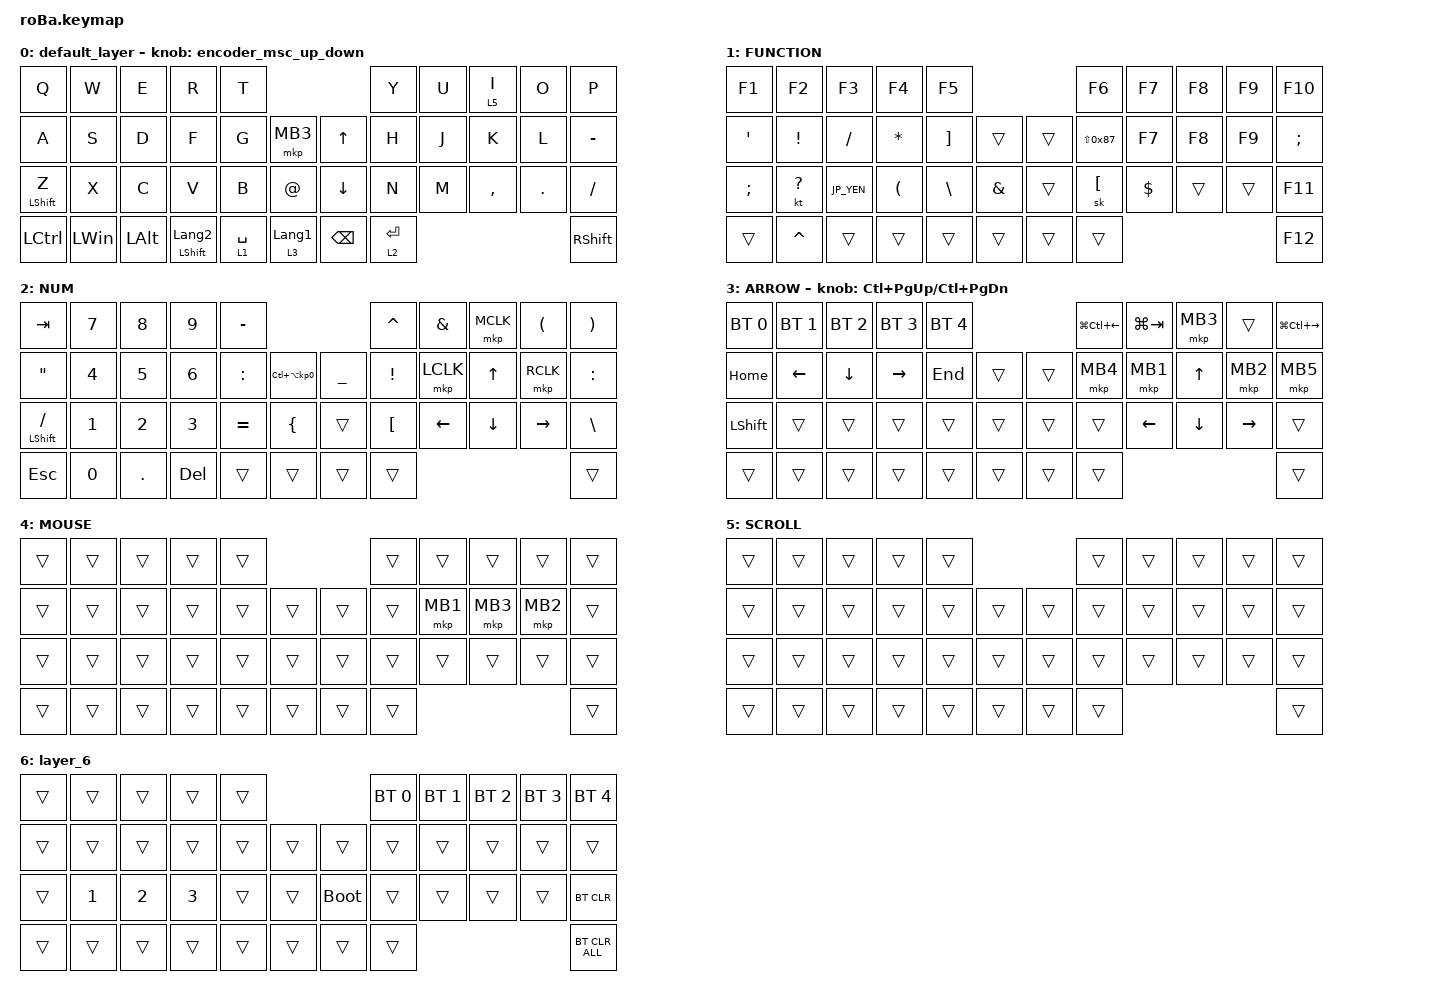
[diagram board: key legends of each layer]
#include <dt-bindings/zmk/mouse.h>
#include <behaviors.dtsi>
#include <dt-bindings/zmk/bt.h>
#include <dt-bindings/zmk/keys.h>
#include <dt-bindings/zmk/pointing.h>

#define MOUSE 4
#define SCROLL 5
#define NUM 6

#undef ZMK_POINTING_DEFAULT_SCRL_VAL
#define ZMK_POINTING_DEFAULT_SCRL_VAL 80

// OS設定を日本語キーボードのまま使用するための変換定義

#define JP_DQUOTE       AT                // "
#define JP_AMPERSAND    CARET             // &
#define JP_QUOTE        AMPERSAND         // '
#define JP_EQUAL        UNDER             // =
#define JP_CARET        EQUAL             // ^
#define JP_YEN          0x89              // ¥
#define JP_PLUS         COLON             // +
#define JP_TILDE        PLUS              // ~
#define JP_PIPE         LS(0x89)          // |
#define JP_AT           LEFT_BRACKET      // @
#define JP_COLON        SINGLE_QUOTE      // :
#define JP_ASTERISK     DOUBLE_QUOTES     // *
#define JP_BACKQUOTE    LEFT_BRACE        // `
#define JP_UNDERSCORE   LS(0x87)          // _
#define JP_LBRACKET     RIGHT_BRACKET     // [
#define JP_RBRACKET     BACKSLASH         // ]
#define JP_LPAREN       ASTERISK          // (
#define JP_RPAREN       LEFT_PARENTHESIS  // )
#define JP_LBRACE       RIGHT_BRACE       // {
#define JP_RBRACE       PIPE              // }
#define JP_KANA         LANGUAGE_1        // かな
#define JP_EISU         LANGUAGE_2        // 英数
#define JP_HANZEN       GRAVE             // 半角/全角

&mt {
    flavor = "balanced";
    quick-tap-ms = <0>;
};

/ {
    combos {
        compatible = "zmk,combos";

        tab {
            bindings = <&kp TAB>;
            key-positions = <11 10>;
        };

        shift_tab {
            bindings = <&kp LS(TAB)>;
            key-positions = <12 11>;
        };

        muhennkann {
            bindings = <&kp ESC>;
            key-positions = <0 1>;
        };

        double_quotation {
            bindings = <&kp DOUBLE_QUOTES>;
            key-positions = <20 21>;
        };
    };

    macros {
        to_layer_0: to_layer_0 {
            compatible = "zmk,behavior-macro-one-param";
            #binding-cells = <1>;
            bindings = <&to 0 &macro_param_1to1 &kp MACRO_PLACEHOLDER>;
            label = "TO_LAYER_0";
        };
    };

    behaviors {
        lt_to_layer_0: lt_to_layer_0 {
            compatible = "zmk,behavior-hold-tap";
            label = "LAYER_TAP_TO_0";
            bindings = <&mo>, <&to_layer_0>;

            #binding-cells = <2>;
            tapping-term-ms = <200>;
        };

        encoder_msc_down_up: encoder_msc_down_up {
            compatible = "zmk,behavior-sensor-rotate";
            label = "ENCODER_MSC_DOWN_UP";
            #sensor-binding-cells = <0>;
            bindings = <&msc SCRL_DOWN>, <&msc SCRL_UP>;
            tap-ms = <20>;
        };

        encoder_msc_up_down: encoder_msc_up_down {
            compatible = "zmk,behavior-sensor-rotate";
            label = "ENCODER_MSC_DOWN_UP";
            #sensor-binding-cells = <0>;
            bindings = <&msc SCRL_UP>, <&msc SCRL_DOWN>;
            tap-ms = <20>;
        };

    };

    keymap {
        compatible = "zmk,keymap";

        default_layer {
            bindings = <
&kp Q             &kp W         &kp E         &kp R                      &kp T                                             &kp Y        &kp U  &lt 5 I    &kp O    &kp P
&kp A             &kp S         &kp D         &kp F                      &kp G        &mkp MB3              &kp UP_ARROW   &kp H        &kp J  &kp K      &kp L    &kp MINUS
&mt LEFT_SHIFT Z  &kp X         &kp C         &kp V                      &kp B        &kp JP_DQUOTE         &kp DOWN       &kp N        &kp M  &kp COMMA  &kp DOT  &kp SLASH
&kp LCTRL         &kp LEFT_WIN  &kp LEFT_ALT  &mt LEFT_SHIFT LANGUAGE_2  &lt 1 SPACE  &lt 3 LANGUAGE_1      &kp BACKSPACE  &lt 2 ENTER                             &kp RIGHT_SHIFT
            >;

            sensor-bindings = <&encoder_msc_up_down>;
        };

        FUNCTION {
            bindings = <
&kp F1         &kp F2           &kp F3      &kp F4         &kp F5                                     &kp F6             &kp F7      &kp F8  &kp F9  &kp F10
&kp JP_COLON   &kp EXCLAMATION  &kp SLASH   &kp JP_LPAREN  &kp JP_LBRACKET  &trans            &trans  &kp JP_UNDERSCORE  &kp F7      &kp F8  &kp F9  &kp SEMICOLON
&kp SEMICOLON  &kt QUESTION     &kp JP_YEN  &kp JP_RPAREN  &kp JP_RBRACKET  &kp JP_QUOTE      &trans  &sk JP_AT          &kp DOLLAR  &trans  &trans  &kp F11
&trans         &kp CARET        &trans      &trans         &trans           &trans            &trans  &trans                                         &kp F12
            >;
        };

        NUM {
            bindings = <
&kp TAB               &kp N7        &kp N8        &kp N9        &kp MINUS                                                 &kp CARET         &kp AMPERSAND  &mkp MCLK     &kp LEFT_PARENTHESIS  &kp RIGHT_PARENTHESIS
&kp JP_ASTERISK       &kp NUMBER_4  &kp N5        &kp NUMBER_6  &kp JP_PLUS  &kp LC(LA(KP_NUMBER_0))      &kp UNDERSCORE  &kp EXCLAMATION   &mkp LCLK      &kp UP_ARROW  &mkp RCLK             &kp COLON
&mt LEFT_SHIFT SLASH  &kp NUMBER_1  &kp NUMBER_2  &kp NUMBER_3  &kp EQUAL    &kp JP_BACKQUOTE             &trans          &kp LEFT_BRACKET  &kp LEFT       &kp DOWN      &kp RIGHT_ARROW       &kp BACKSLASH
&kp ESC               &kp NUMBER_0  &kp DOT       &kp DEL       &trans       &trans                       &trans          &trans                                                               &trans
            >;
        };

        ARROW {
            bindings = <
&bt BT_SEL 0    &bt BT_SEL 1    &bt BT_SEL 2    &bt BT_SEL 3     &bt BT_SEL 4                      &kp LG(LC(LEFT))  &kp LG(TAB)  &mkp MB3  &trans     &kp LG(LC(RIGHT))
&kp HOME        &kp LEFT_ARROW  &kp DOWN_ARROW  &kp RIGHT_ARROW  &kp END       &trans      &trans  &mkp MB4          &mkp MB1     &kp UP    &mkp MB2   &mkp MB5
&kp LEFT_SHIFT  &trans          &trans          &trans           &trans        &trans      &trans  &trans            &kp LEFT     &kp DOWN  &kp RIGHT  &trans
&trans          &trans          &trans          &trans           &trans        &trans      &trans  &trans                                              &trans
            >;

            sensor-bindings = <&inc_dec_kp LC(PAGE_UP) LC(PAGE_DOWN)>;
        };

        MOUSE {
            bindings = <
&trans  &trans  &trans  &trans  &trans                      &trans  &trans    &trans    &trans    &trans
&trans  &trans  &trans  &trans  &trans  &trans      &trans  &trans  &mkp MB1  &mkp MB3  &mkp MB2  &trans
&trans  &trans  &trans  &trans  &trans  &trans      &trans  &trans  &trans    &trans    &trans    &trans
&trans  &trans  &trans  &trans  &trans  &trans      &trans  &trans                                &trans
            >;
        };

        SCROLL {
            bindings = <
&trans  &trans  &trans  &trans  &trans                      &trans  &trans  &trans  &trans  &trans
&trans  &trans  &trans  &trans  &trans  &trans      &trans  &trans  &trans  &trans  &trans  &trans
&trans  &trans  &trans  &trans  &trans  &trans      &trans  &trans  &trans  &trans  &trans  &trans
&trans  &trans  &trans  &trans  &trans  &trans      &trans  &trans                          &trans
            >;
        };

        layer_6 {
            bindings = <
&trans  &trans        &trans        &trans        &trans                           &bt BT_SEL 0  &bt BT_SEL 1  &bt BT_SEL 2  &bt BT_SEL 3  &bt BT_SEL 4
&trans  &trans        &trans        &trans        &trans  &trans      &trans       &trans        &trans        &trans        &trans        &trans
&trans  &kp NUMBER_1  &kp NUMBER_2  &kp NUMBER_3  &trans  &trans      &bootloader  &trans        &trans        &trans        &trans        &bt BT_CLR
&trans  &trans        &trans        &trans        &trans  &trans      &trans       &trans                                                  &bt BT_CLR_ALL
            >;
        };
    };
};
